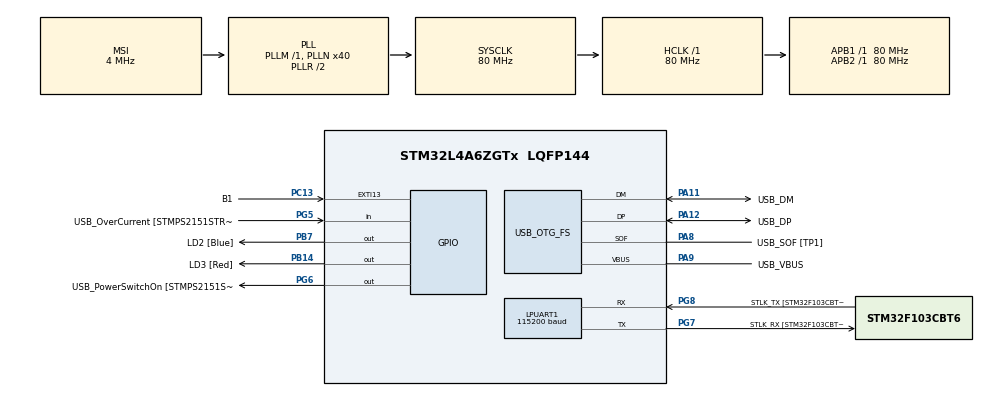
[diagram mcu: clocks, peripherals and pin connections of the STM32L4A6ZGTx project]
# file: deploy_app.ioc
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LPUART1.AutoBaudRateEnableParam=UART_ADVFEATURE_AUTOBAUDRATE_DISABLE
LPUART1.BaudRate=115200
LPUART1.DMADisableonRxErrorParam=UART_ADVFEATURE_DMA_ENABLEONRXERROR
LPUART1.DataInvertParam=UART_ADVFEATURE_DATAINV_DISABLE
LPUART1.MSBFirstParam=UART_ADVFEATURE_MSBFIRST_DISABLE
LPUART1.Mode=UART_MODE_TX_RX
LPUART1.OneBitSampling=UART_ONE_BIT_SAMPLE_DISABLE
LPUART1.OverrunDisableParam=UART_ADVFEATURE_OVERRUN_ENABLE
LPUART1.Parity=UART_PARITY_NONE
LPUART1.RxPinLevelInvertParam=UART_ADVFEATURE_RXINV_DISABLE
LPUART1.StopBits=UART_STOPBITS_1
LPUART1.SwapParam=UART_ADVFEATURE_SWAP_DISABLE
LPUART1.TxPinLevelInvertParam=UART_ADVFEATURE_TXINV_DISABLE
LPUART1.WordLength=UART_WORDLENGTH_8B
Mcu.Family=STM32L4
Mcu.Name=STM32L4A6ZGTx
Mcu.Package=LQFP144
NVIC.PriorityGroup=NVIC_PRIORITYGROUP_4
NVIC.TIM2_IRQn=true\:0\:0\:false\:false\:true\:true\:true\:true
PA10.GPIO_Label=USB_ID
PA10.Signal=USB_OTG_FS_ID
PA11.GPIO_Label=USB_DM
PA11.Mode=Device_Only
PA11.Signal=USB_OTG_FS_DM
PA12.GPIO_Label=USB_DP
PA12.Mode=Device_Only
PA12.Signal=USB_OTG_FS_DP
PA13\ (JTMS/SWDIO).GPIO_Label=TMS
PA13\ (JTMS/SWDIO).Mode=Trace_Asynchronous_SW
PA13\ (JTMS/SWDIO).Signal=SYS_JTMS-SWDIO
PA14\ (JTCK/SWCLK).GPIO_Label=TCK
PA14\ (JTCK/SWCLK).Mode=Trace_Asynchronous_SW
PA14\ (JTCK/SWCLK).Signal=SYS_JTCK-SWCLK
PA8.GPIO_Label=USB_SOF [TP1]
PA8.Mode=Activate_SOF_FS
PA8.Signal=USB_OTG_FS_SOF
PA9.GPIO_Label=USB_VBUS
PA9.Mode=Activate_VBUS
PA9.Signal=USB_OTG_FS_VBUS
PB14.GPIO_Label=LD3 [Red]
PB14.Signal=GPIO_Output
PB3\ (JTDO/TRACESWO).GPIO_Label=SWO
PB3\ (JTDO/TRACESWO).Mode=Trace_Asynchronous_SW
PB3\ (JTDO/TRACESWO).Signal=SYS_JTDO-SWO
PB7.GPIO_Label=LD2 [Blue]
PB7.Signal=GPIO_Output
PC13.GPIO_Label=B1
PC13.Signal=GPXTI13
PC14-OSC32_IN\ (PC14).Mode=LSE-External-Oscillator
PC14-OSC32_IN\ (PC14).Signal=RCC_OSC32_IN
PC15-OSC32_OUT\ (PC15).Mode=LSE-External-Oscillator
PC15-OSC32_OUT\ (PC15).Signal=RCC_OSC32_OUT
PG5.GPIO_Label=USB_OverCurrent [STMPS2151STR_FAULT]
PG5.Signal=GPIO_Input
PG6.GPIO_Label=USB_PowerSwitchOn [STMPS2151STR_EN]
PG6.Signal=GPIO_Output
PG7.GPIO_Label=STLK_RX [STM32F103CBT6_PA3]
PG7.Mode=Asynchronous
PG7.Signal=LPUART1_TX
PG8.GPIO_Label=STLK_TX [STM32F103CBT6_PA2]
PG8.Mode=Asynchronous
PG8.Signal=LPUART1_RX
PH1-OSC_OUT\ (PH1).Signal=RCC_OSC_OUT
ProjectManager.HeapSize=0x800
ProjectManager.StackSize=0x800
ProjectManager.TargetToolchain=MDK-ARM V5.32
RCC.ADCFreq_Value=48000000
RCC.AHBFreq_Value=80000000
RCC.APB1Freq_Value=80000000
RCC.APB1TimFreq_Value=80000000
RCC.APB2Freq_Value=80000000
RCC.APB2TimFreq_Value=80000000
RCC.CortexFreq_Value=80000000
RCC.FLatency=FLASH_LATENCY_4
RCC.HCLKFreq_Value=80000000
RCC.HSE_VALUE=8000000
RCC.HSI48_VALUE=48000000
RCC.HSI_VALUE=16000000
RCC.MSI_VALUE=4000000
RCC.PLLN=40
RCC.PLLSAI1N=24
RCC.SYSCLKFreq_VALUE=80000000
RCC.SYSCLKSource=RCC_SYSCLKSOURCE_PLLCLK
RCC.USBFreq_Value=48000000
RCC.VCOOutputFreq_Value=160000000
STMicroelectronics.X-CUBE-AI.7.2.0.ActivationBufferSizeList=10940
STMicroelectronics.X-CUBE-AI.7.2.0.ActivationBuffers=pool0
STMicroelectronics.X-CUBE-AI.7.2.0.ActivationNames=pool0
STMicroelectronics.X-CUBE-AI.7.2.0.ActivationSizes=AI_NETWORK_DATA_ACTIVATION_1_SIZE
STMicroelectronics.X-CUBE-AI.7.2.0.ApplicationCcDeviceJjApplication=ApplicationTemplate
STMicroelectronics.X-CUBE-AI.7.2.0.HeapSize=0x800
STMicroelectronics.X-CUBE-AI.7.2.0.InternalRamActivationBufferMaxSize=AI_NETWORK_DATA_ACTIVATIONS_SIZE
STMicroelectronics.X-CUBE-AI.7.2.0.LatestDirectoryUsed-cbbfd29771d0c0fcee4a6014e9a9d5d16bf65034595bac148817e700de12fa57=C\:\\Users\\Admin\\Dropbox (Politecnico Di Torino Studenti)\\phd\\Works\\tinydl-challenge\\deployment\\5e-11_ops
STMicroelectronics.X-CUBE-AI.7.2.0.MaximumNumberOfInputLayer=1
STMicroelectronics.X-CUBE-AI.7.2.0.MaximumNumberOfOutputLayer=1
STMicroelectronics.X-CUBE-AI.7.2.0.MaximumSizeOfInputLayer=1
STMicroelectronics.X-CUBE-AI.7.2.0.MaximumSizeOfOutputLayer=1
STMicroelectronics.X-CUBE-AI.7.2.0.ModelActualCompression-cbbfd29771d0c0fcee4a6014e9a9d5d16bf65034595bac148817e700de12fa57=0.0
STMicroelectronics.X-CUBE-AI.7.2.0.ModelCompression-cbbfd29771d0c0fcee4a6014e9a9d5d16bf65034595bac148817e700de12fa57=None
STMicroelectronics.X-CUBE-AI.7.2.0.ModelFlashOccupation-cbbfd29771d0c0fcee4a6014e9a9d5d16bf65034595bac148817e700de12fa57=19616
STMicroelectronics.X-CUBE-AI.7.2.0.ModelHashList=cbbfd29771d0c0fcee4a6014e9a9d5d16bf65034595bac148817e700de12fa57
STMicroelectronics.X-CUBE-AI.7.2.0.ModelKind-cbbfd29771d0c0fcee4a6014e9a9d5d16bf65034595bac148817e700de12fa57=ONNX
STMicroelectronics.X-CUBE-AI.7.2.0.ModelMacc-cbbfd29771d0c0fcee4a6014e9a9d5d16bf65034595bac148817e700de12fa57=30126
STMicroelectronics.X-CUBE-AI.7.2.0.ModelName-cbbfd29771d0c0fcee4a6014e9a9d5d16bf65034595bac148817e700de12fa57=network
STMicroelectronics.X-CUBE-AI.7.2.0.ModelNameList=network
STMicroelectronics.X-CUBE-AI.7.2.0.ModelRamOccupation-cbbfd29771d0c0fcee4a6014e9a9d5d16bf65034595bac148817e700de12fa57=10940
STMicroelectronics.X-CUBE-AI.7.2.0.ModelStructureFile-cbbfd29771d0c0fcee4a6014e9a9d5d16bf65034595bac148817e700de12fa57=/C\:/Users/Admin/Dropbox (Politecnico Di Torino Studenti)/phd/Works/tinydl-challenge/deployment/5e-11_ops/IEGMNet_cbr.onnx
STMicroelectronics.X-CUBE-AI.7.2.0.ModelType-cbbfd29771d0c0fcee4a6014e9a9d5d16bf65034595bac148817e700de12fa57=Saved model
STMicroelectronics.X-CUBE-AI.7.2.0.ReadyForCodeGeneration=true
STMicroelectronics.X-CUBE-AI.7.2.0.StackSize=0x800
STMicroelectronics.X-CUBE-AI.7.2.0.WorkingBufferStartAddrList=0xFFFFFFFF
STMicroelectronics.X-CUBE-AI.7.2.0.XAaCUBEAaAICcArtificialOoIntelligenceJjCore=true
TIM2.AutoReloadPreload=TIM_AUTORELOAD_PRELOAD_ENABLE
TIM2.Period=5000
TIM2.Prescaler=9
USB_OTG_FS.Sof_enable=ENABLE
USB_OTG_FS.VirtualMode=Device_Only
USB_OTG_FS.battery_charging_enable=ENABLE
USB_OTG_FS.low_power_enable=DISABLE
USB_OTG_FS.lpm_enable=DISABLE
USB_OTG_FS.use_dedicated_ep1=DISABLE
USB_OTG_FS.vbus_sensing_enable=ENABLE
VP_CRC_VS_CRC.Mode=CRC_Activate
VP_STMicroelectronics.X-CUBE-AI_VS_ArtificialOoIntelligenceJjXAaCUBEAaAI_7.2.0.Mode=ArtificialOoIntelligenceJjXAaCUBEAaAI
VP_STMicroelectronics.X-CUBE-AI_VS_DeviceJjApplication_7.2.0.Mode=DeviceJjApplication
VP_TIM2_VS_ClockSourceINT.Mode=Internal
board=NUCLEO-L4A6ZG

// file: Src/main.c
/* USER CODE BEGIN Header */
/**
  ******************************************************************************
  * @file           : main.c
  * @brief          : Main program body
  ******************************************************************************
  * @attention
  *
  * Copyright (c) 2022 STMicroelectronics.
  * All rights reserved.
  *
  * This software is licensed under terms that can be found in the LICENSE file
  * in the root directory of this software component.
  * If no LICENSE file comes with this software, it is provided AS-IS.
  *
  ******************************************************************************
  */
/* USER CODE END Header */
#include "main.h"
#include "crc.h"
#include "usart.h"
#include "tim.h"
#include "usb_otg.h"
#include "gpio.h"
#include "app_x-cube-ai.h"

#include <stdio.h>

void SystemClock_Config(void);
/* USER CODE BEGIN PFP */

uint32_t getCurrentMicros(void)
{
	LL_SYSTICK_IsActiveCounterFlag();
	uint32_t m = HAL_GetTick();
	const uint32_t tms = SysTick->LOAD + 1;
	__IO uint32_t u = tms - SysTick->VAL;
	if (LL_SYSTICK_IsActiveCounterFlag())
	{
		m = HAL_GetTick();
		u = tms - SysTick->VAL;
	}
	return (m*1000+(u*1000)/tms);
}

/* USER CODE END PFP */

/* USER CODE BEGIN 0 */
float input[1][1250][1]={0};
float result[2]={0};
/* USER CODE END 0 */

int main(void)
{
  /* USER CODE BEGIN 1 */
	float input_tmp;
  int status=0;
  double vector[2] = {0};
	double start_time = 0;
	double end_time = 0;
  /* USER CODE END 1 */

  /* MCU Configuration--------------------------------------------------------*/

  /* Reset of all peripherals, Initializes the Flash interface and the Systick. */
  HAL_Init();

  /* Configure the system clock */
  SystemClock_Config();

  /* Initialize all configured peripherals */
  MX_GPIO_Init();
  MX_CRC_Init();
  MX_LPUART1_UART_Init();
  MX_TIM2_Init();
  MX_USB_OTG_FS_PCD_Init();
  MX_X_CUBE_AI_Init();

  /* Infinite loop */
  /* USER CODE BEGIN WHILE */
  while (1)
  {
    // Send the code "begin" to tell the upper computer that it can start sending a set of test data.
    printf("begin");
    for(int16_t i=0;i<1;i++)
    {
      for(int16_t j=0;j<1250;j++)
      {
        for(int16_t k=0;k<1;k++)
        {
          // Receive test data from serial port and save to input[]
          scanf("%f",&input_tmp);
          input[i][j][k]=input_tmp;
        }

      }
    }
    HAL_Delay(1);
    //Run the model and get results
	start_time = getCurrentMicros();
    aiRun(input,result);
	end_time = getCurrentMicros();
    // Send the code "ok" to tell the upper computer that inference is done and ready to send results.
    printf("ok");
    HAL_Delay(1);
    // Wait for the upper computer to send status 200, indicating that the code "ok" has been received
    scanf("%d",&status);
    if(status==200)
    {
      // Sending results to the upper computer
      if(result[0]>result[1])
        printf("0,%.6f", (double)(end_time-start_time)/(double)1000000);
      else
        printf("1,%.6f", (double)(end_time-start_time)/(double)1000000);
      HAL_Delay(30);
    }
  }
  /* USER CODE END 3 */
}

void SystemClock_Config(void)
{
  RCC_OscInitTypeDef RCC_OscInitStruct = {0};
  RCC_ClkInitTypeDef RCC_ClkInitStruct = {0};

  /** Configure the main internal regulator output voltage
  */
  if (HAL_PWREx_ControlVoltageScaling(PWR_REGULATOR_VOLTAGE_SCALE1) != HAL_OK)
  {
    Error_Handler();
  }

  /** Configure LSE Drive Capability
  */
  HAL_PWR_EnableBkUpAccess();
  __HAL_RCC_LSEDRIVE_CONFIG(RCC_LSEDRIVE_LOW);

  /** Initializes the RCC Oscillators according to the specified parameters
  * in the RCC_OscInitTypeDef structure.
  */
  RCC_OscInitStruct.OscillatorType = RCC_OSCILLATORTYPE_LSE|RCC_OSCILLATORTYPE_MSI;
  RCC_OscInitStruct.LSEState = RCC_LSE_ON;
  RCC_OscInitStruct.MSIState = RCC_MSI_ON;
  RCC_OscInitStruct.MSICalibrationValue = 0;
  RCC_OscInitStruct.MSIClockRange = RCC_MSIRANGE_6;
  RCC_OscInitStruct.PLL.PLLState = RCC_PLL_ON;
  RCC_OscInitStruct.PLL.PLLSource = RCC_PLLSOURCE_MSI;
  RCC_OscInitStruct.PLL.PLLM = 1;
  RCC_OscInitStruct.PLL.PLLN = 40;
  RCC_OscInitStruct.PLL.PLLP = RCC_PLLP_DIV2;
  RCC_OscInitStruct.PLL.PLLQ = RCC_PLLQ_DIV2;
  RCC_OscInitStruct.PLL.PLLR = RCC_PLLR_DIV2;
  if (HAL_RCC_OscConfig(&RCC_OscInitStruct) != HAL_OK)
  {
    Error_Handler();
  }

  /** Initializes the CPU, AHB and APB buses clocks
  */
  RCC_ClkInitStruct.ClockType = RCC_CLOCKTYPE_HCLK|RCC_CLOCKTYPE_SYSCLK
                              |RCC_CLOCKTYPE_PCLK1|RCC_CLOCKTYPE_PCLK2;
  RCC_ClkInitStruct.SYSCLKSource = RCC_SYSCLKSOURCE_PLLCLK;
  RCC_ClkInitStruct.AHBCLKDivider = RCC_SYSCLK_DIV1;
  RCC_ClkInitStruct.APB1CLKDivider = RCC_HCLK_DIV1;
  RCC_ClkInitStruct.APB2CLKDivider = RCC_HCLK_DIV1;

  if (HAL_RCC_ClockConfig(&RCC_ClkInitStruct, FLASH_LATENCY_4) != HAL_OK)
  {
    Error_Handler();
  }

  /** Enable MSI Auto calibration
  */
  HAL_RCCEx_EnableMSIPLLMode();
}

void Error_Handler(void)
{
  __disable_irq();
  while (1)
  {
  }
}
